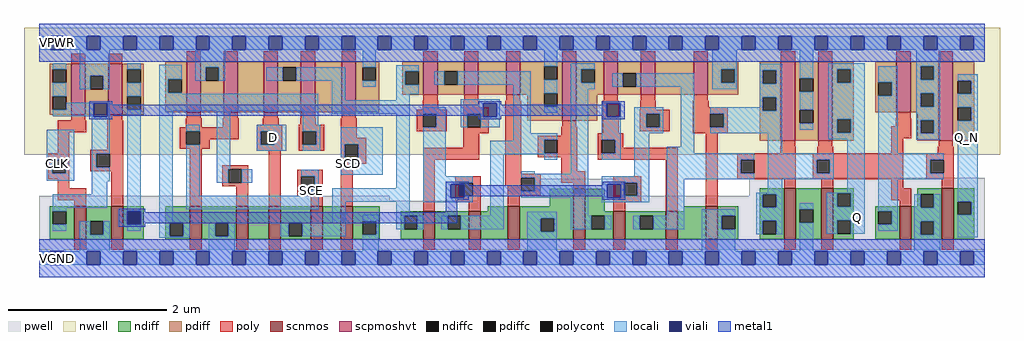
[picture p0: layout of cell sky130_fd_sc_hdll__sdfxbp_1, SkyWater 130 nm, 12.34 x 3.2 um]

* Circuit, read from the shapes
.subckt sky130_fd_sc_hdll__sdfxbp_1 CLK D SCD SCE VGND VNB VPB VPWR Q Q_N
XM1 VGND CLK n1 VNB sky130_fd_pr__nfet_01v8 w=0.42 l=0.15
XM2 n2 n1 VGND VNB sky130_fd_pr__nfet_01v8 w=0.42 l=0.15
XM3 VGND SCE n3 VNB sky130_fd_pr__nfet_01v8 w=0.42 l=0.15
XM4 n4 n3 VGND VNB sky130_fd_pr__nfet_01v8 w=0.42 l=0.15
XM5 n5 D n4 VNB sky130_fd_pr__nfet_01v8 w=0.42 l=0.15
XM6 n6 SCE n5 VNB sky130_fd_pr__nfet_01v8 w=0.42 l=0.15
XM7 VGND SCD n6 VNB sky130_fd_pr__nfet_01v8 w=0.42 l=0.15
XM8 n7 n1 n5 VNB sky130_fd_pr__nfet_01v8 w=0.36 l=0.15
XM9 n8 n2 n7 VNB sky130_fd_pr__nfet_01v8 w=0.36 l=0.15
XM10 VGND n9 n8 VNB sky130_fd_pr__nfet_01v8 w=0.42 l=0.15
XM11 n9 n7 VGND VNB sky130_fd_pr__nfet_01v8 w=0.64 l=0.15
XM12 n10 n2 n9 VNB sky130_fd_pr__nfet_01v8 w=0.36 l=0.15
XM13 n11 n1 n10 VNB sky130_fd_pr__nfet_01v8 w=0.36 l=0.15
XM14 VGND n12 n11 VNB sky130_fd_pr__nfet_01v8 w=0.42 l=0.15
XM15 VGND n10 n12 VNB sky130_fd_pr__nfet_01v8 w=0.65 l=0.15
XM16 Q n12 VGND VNB sky130_fd_pr__nfet_01v8 w=0.65 l=0.15
XM17 VGND n12 n13 VNB sky130_fd_pr__nfet_01v8 w=0.42 l=0.15
XM18 Q_N n13 VGND VNB sky130_fd_pr__nfet_01v8 w=0.65 l=0.15
XM19 VPWR CLK n1 VPB sky130_fd_pr__pfet_01v8_hvt w=0.64 l=0.18
XM20 n2 n1 VPWR VPB sky130_fd_pr__pfet_01v8_hvt w=0.64 l=0.18
XM21 VPWR SCE n3 VPB sky130_fd_pr__pfet_01v8_hvt w=0.64 l=0.18
XM22 n14 SCE VPWR VPB sky130_fd_pr__pfet_01v8_hvt w=0.64 l=0.18
XM23 n5 D n14 VPB sky130_fd_pr__pfet_01v8_hvt w=0.64 l=0.18
XM24 n15 n3 n5 VPB sky130_fd_pr__pfet_01v8_hvt w=0.64 l=0.18
XM25 VPWR SCD n15 VPB sky130_fd_pr__pfet_01v8_hvt w=0.64 l=0.18
XM26 n7 n2 n5 VPB sky130_fd_pr__pfet_01v8_hvt w=0.42 l=0.18
XM27 n16 n1 n7 VPB sky130_fd_pr__pfet_01v8_hvt w=0.42 l=0.18
XM28 VPWR n9 n16 VPB sky130_fd_pr__pfet_01v8_hvt w=0.42 l=0.18
XM29 n9 n7 VPWR VPB sky130_fd_pr__pfet_01v8_hvt w=0.75 l=0.18
XM30 n10 n1 n9 VPB sky130_fd_pr__pfet_01v8_hvt w=0.42 l=0.18
XM31 n17 n2 n10 VPB sky130_fd_pr__pfet_01v8_hvt w=0.42 l=0.18
XM32 VPWR n12 n17 VPB sky130_fd_pr__pfet_01v8_hvt w=0.42 l=0.18
XM33 VPWR n10 n12 VPB sky130_fd_pr__pfet_01v8_hvt w=1 l=0.18
XM34 Q n12 VPWR VPB sky130_fd_pr__pfet_01v8_hvt w=1 l=0.18
XM35 VPWR n12 n13 VPB sky130_fd_pr__pfet_01v8_hvt w=0.64 l=0.18
XM36 Q_N n13 VPWR VPB sky130_fd_pr__pfet_01v8_hvt w=1 l=0.18
.ends

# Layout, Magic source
magic
tech sky130A
magscale 1 2
<< nwell >>
rect -38 261 2430 582
<< pwell >>
rect 1265 157 1457 201
rect 1796 157 2391 203
rect 1 145 887 157
rect 1109 145 2391 157
rect 1 21 2391 145
rect 29 -17 63 21
<< scnmos >>
rect 89 47 119 131
rect 183 47 213 131
rect 381 47 411 131
rect 499 47 529 131
rect 581 47 611 131
rect 687 47 717 131
rect 763 47 793 131
rect 971 47 1001 119
rect 1087 47 1117 119
rect 1185 47 1215 131
rect 1351 47 1381 175
rect 1452 47 1482 119
rect 1585 47 1615 119
rect 1686 47 1716 131
rect 1884 47 1914 177
rect 1978 47 2008 177
rect 2176 47 2206 131
rect 2283 47 2313 177
<< scpmoshvt >>
rect 81 363 117 491
rect 175 363 211 491
rect 373 369 409 497
rect 467 369 503 497
rect 568 369 604 497
rect 662 369 698 497
rect 765 369 801 497
rect 972 413 1008 497
rect 1075 413 1111 497
rect 1181 413 1217 497
rect 1323 347 1359 497
rect 1428 413 1464 497
rect 1522 413 1558 497
rect 1655 413 1691 497
rect 1876 297 1912 497
rect 1970 297 2006 497
rect 2168 369 2204 497
rect 2275 297 2311 497
<< ndiff >>
rect 27 119 89 131
rect 27 85 35 119
rect 69 85 89 119
rect 27 47 89 85
rect 119 93 183 131
rect 119 59 129 93
rect 163 59 183 93
rect 119 47 183 59
rect 213 119 265 131
rect 213 85 223 119
rect 257 85 265 119
rect 213 47 265 85
rect 319 89 381 131
rect 319 55 331 89
rect 365 55 381 89
rect 319 47 381 55
rect 411 89 499 131
rect 411 55 445 89
rect 479 55 499 89
rect 411 47 499 55
rect 529 47 581 131
rect 611 89 687 131
rect 611 55 632 89
rect 666 55 687 89
rect 611 47 687 55
rect 717 47 763 131
rect 793 93 861 131
rect 1291 131 1351 175
rect 1135 119 1185 131
rect 793 59 819 93
rect 853 59 861 93
rect 793 47 861 59
rect 915 107 971 119
rect 915 73 923 107
rect 957 73 971 107
rect 915 47 971 73
rect 1001 107 1087 119
rect 1001 73 1033 107
rect 1067 73 1087 107
rect 1001 47 1087 73
rect 1117 47 1185 119
rect 1215 101 1351 131
rect 1215 67 1269 101
rect 1303 67 1351 101
rect 1215 47 1351 67
rect 1381 119 1431 175
rect 1822 162 1884 177
rect 1630 119 1686 131
rect 1381 107 1452 119
rect 1381 73 1397 107
rect 1431 73 1452 107
rect 1381 47 1452 73
rect 1482 107 1585 119
rect 1482 73 1519 107
rect 1553 73 1585 107
rect 1482 47 1585 73
rect 1615 47 1686 119
rect 1716 107 1768 131
rect 1716 73 1726 107
rect 1760 73 1768 107
rect 1716 47 1768 73
rect 1822 128 1830 162
rect 1864 128 1884 162
rect 1822 94 1884 128
rect 1822 60 1830 94
rect 1864 60 1884 94
rect 1822 47 1884 60
rect 1914 123 1978 177
rect 1914 89 1924 123
rect 1958 89 1978 123
rect 1914 47 1978 89
rect 2008 164 2060 177
rect 2008 130 2018 164
rect 2052 130 2060 164
rect 2221 161 2283 177
rect 2221 131 2229 161
rect 2008 96 2060 130
rect 2008 62 2018 96
rect 2052 62 2060 96
rect 2008 47 2060 62
rect 2114 119 2176 131
rect 2114 85 2122 119
rect 2156 85 2176 119
rect 2114 47 2176 85
rect 2206 127 2229 131
rect 2263 127 2283 161
rect 2206 93 2283 127
rect 2206 59 2229 93
rect 2263 59 2283 93
rect 2206 47 2283 59
rect 2313 143 2365 177
rect 2313 109 2323 143
rect 2357 109 2365 143
rect 2313 47 2365 109
<< pdiff >>
rect 27 477 81 491
rect 27 443 35 477
rect 69 443 81 477
rect 27 409 81 443
rect 27 375 35 409
rect 69 375 81 409
rect 27 363 81 375
rect 117 461 175 491
rect 117 427 129 461
rect 163 427 175 461
rect 117 363 175 427
rect 211 477 265 491
rect 211 443 223 477
rect 257 443 265 477
rect 211 409 265 443
rect 211 375 223 409
rect 257 375 265 409
rect 211 363 265 375
rect 319 452 373 497
rect 319 418 327 452
rect 361 418 373 452
rect 319 369 373 418
rect 409 483 467 497
rect 409 449 421 483
rect 455 449 467 483
rect 409 369 467 449
rect 503 369 568 497
rect 604 483 662 497
rect 604 449 616 483
rect 650 449 662 483
rect 604 369 662 449
rect 698 369 765 497
rect 801 483 860 497
rect 801 449 818 483
rect 852 449 860 483
rect 801 369 860 449
rect 918 472 972 497
rect 918 438 926 472
rect 960 438 972 472
rect 918 413 972 438
rect 1008 472 1075 497
rect 1008 438 1025 472
rect 1059 438 1075 472
rect 1008 413 1075 438
rect 1111 413 1181 497
rect 1217 485 1323 497
rect 1217 451 1277 485
rect 1311 451 1323 485
rect 1217 417 1323 451
rect 1217 413 1277 417
rect 1234 383 1277 413
rect 1311 383 1323 417
rect 1234 347 1323 383
rect 1359 477 1428 497
rect 1359 443 1371 477
rect 1405 443 1428 477
rect 1359 413 1428 443
rect 1464 467 1522 497
rect 1464 433 1476 467
rect 1510 433 1522 467
rect 1464 413 1522 433
rect 1558 413 1655 497
rect 1691 477 1768 497
rect 1691 443 1725 477
rect 1759 443 1768 477
rect 1691 413 1768 443
rect 1822 475 1876 497
rect 1822 441 1830 475
rect 1864 441 1876 475
rect 1359 347 1411 413
rect 1822 407 1876 441
rect 1822 373 1830 407
rect 1864 373 1876 407
rect 1822 297 1876 373
rect 1912 455 1970 497
rect 1912 421 1924 455
rect 1958 421 1970 455
rect 1912 375 1970 421
rect 1912 341 1924 375
rect 1958 341 1970 375
rect 1912 297 1970 341
rect 2006 477 2060 497
rect 2006 443 2018 477
rect 2052 443 2060 477
rect 2006 351 2060 443
rect 2114 445 2168 497
rect 2114 411 2122 445
rect 2156 411 2168 445
rect 2114 369 2168 411
rect 2204 485 2275 497
rect 2204 451 2229 485
rect 2263 451 2275 485
rect 2204 417 2275 451
rect 2204 383 2229 417
rect 2263 383 2275 417
rect 2204 369 2275 383
rect 2006 317 2018 351
rect 2052 317 2060 351
rect 2006 297 2060 317
rect 2221 349 2275 369
rect 2221 315 2229 349
rect 2263 315 2275 349
rect 2221 297 2275 315
rect 2311 449 2365 497
rect 2311 415 2323 449
rect 2357 415 2365 449
rect 2311 381 2365 415
rect 2311 347 2323 381
rect 2357 347 2365 381
rect 2311 297 2365 347
<< ndiffc >>
rect 35 85 69 119
rect 129 59 163 93
rect 223 85 257 119
rect 331 55 365 89
rect 445 55 479 89
rect 632 55 666 89
rect 819 59 853 93
rect 923 73 957 107
rect 1033 73 1067 107
rect 1269 67 1303 101
rect 1397 73 1431 107
rect 1519 73 1553 107
rect 1726 73 1760 107
rect 1830 128 1864 162
rect 1830 60 1864 94
rect 1924 89 1958 123
rect 2018 130 2052 164
rect 2018 62 2052 96
rect 2122 85 2156 119
rect 2229 127 2263 161
rect 2229 59 2263 93
rect 2323 109 2357 143
<< pdiffc >>
rect 35 443 69 477
rect 35 375 69 409
rect 129 427 163 461
rect 223 443 257 477
rect 223 375 257 409
rect 327 418 361 452
rect 421 449 455 483
rect 616 449 650 483
rect 818 449 852 483
rect 926 438 960 472
rect 1025 438 1059 472
rect 1277 451 1311 485
rect 1277 383 1311 417
rect 1371 443 1405 477
rect 1476 433 1510 467
rect 1725 443 1759 477
rect 1830 441 1864 475
rect 1830 373 1864 407
rect 1924 421 1958 455
rect 1924 341 1958 375
rect 2018 443 2052 477
rect 2122 411 2156 445
rect 2229 451 2263 485
rect 2229 383 2263 417
rect 2018 317 2052 351
rect 2229 315 2263 349
rect 2323 415 2357 449
rect 2323 347 2357 381
<< poly >>
rect 81 491 117 517
rect 175 491 211 517
rect 373 497 409 523
rect 467 497 503 523
rect 568 497 604 523
rect 662 497 698 523
rect 765 497 801 523
rect 972 497 1008 523
rect 1075 497 1111 523
rect 1181 497 1217 523
rect 1323 497 1359 523
rect 1428 497 1464 523
rect 1522 497 1558 523
rect 1655 497 1691 523
rect 1876 497 1912 523
rect 1970 497 2006 523
rect 2168 497 2204 523
rect 2275 497 2311 523
rect 972 398 1008 413
rect 1075 398 1111 413
rect 1181 398 1217 413
rect 970 375 1010 398
rect 1073 381 1113 398
rect 81 348 117 363
rect 175 348 211 363
rect 373 354 409 369
rect 467 354 503 369
rect 568 354 604 369
rect 662 354 698 369
rect 765 354 801 369
rect 955 365 1031 375
rect 47 318 119 348
rect 47 265 77 318
rect 173 274 213 348
rect 371 331 411 354
rect 465 331 505 354
rect 566 337 606 354
rect 660 337 700 354
rect 356 321 505 331
rect 356 287 372 321
rect 406 301 505 321
rect 551 321 615 337
rect 406 287 432 301
rect 356 277 432 287
rect 551 287 561 321
rect 595 287 615 321
rect 23 249 77 265
rect 23 215 33 249
rect 67 215 77 249
rect 129 264 213 274
rect 129 230 145 264
rect 179 230 213 264
rect 129 220 213 230
rect 23 199 77 215
rect 47 176 77 199
rect 47 146 119 176
rect 89 131 119 146
rect 183 131 213 220
rect 381 131 411 277
rect 551 271 615 287
rect 657 321 721 337
rect 657 287 667 321
rect 701 287 721 321
rect 657 271 721 287
rect 763 304 803 354
rect 955 331 971 365
rect 1005 331 1031 365
rect 955 321 1031 331
rect 1073 365 1137 381
rect 1073 331 1083 365
rect 1117 331 1137 365
rect 1073 315 1137 331
rect 763 288 827 304
rect 463 225 529 235
rect 463 191 479 225
rect 513 191 529 225
rect 463 181 529 191
rect 499 131 529 181
rect 581 131 611 271
rect 763 254 773 288
rect 807 254 827 288
rect 1073 279 1113 315
rect 763 238 827 254
rect 971 249 1113 279
rect 653 207 717 223
rect 653 173 663 207
rect 697 173 717 207
rect 653 157 717 173
rect 687 131 717 157
rect 763 131 793 238
rect 971 119 1001 249
rect 1179 213 1219 398
rect 1428 398 1464 413
rect 1522 398 1558 413
rect 1655 398 1691 413
rect 1323 332 1359 347
rect 1321 309 1361 332
rect 1426 315 1466 398
rect 1520 375 1560 398
rect 1653 381 1693 398
rect 1519 365 1595 375
rect 1519 331 1535 365
rect 1569 331 1595 365
rect 1519 321 1595 331
rect 1653 365 1741 381
rect 1653 331 1697 365
rect 1731 331 1741 365
rect 1653 315 1741 331
rect 1261 299 1361 309
rect 1261 265 1277 299
rect 1311 265 1361 299
rect 1261 255 1361 265
rect 1321 220 1361 255
rect 1413 299 1477 315
rect 1413 265 1423 299
rect 1457 279 1477 299
rect 1457 265 1615 279
rect 1413 249 1615 265
rect 1053 191 1117 207
rect 1053 157 1063 191
rect 1097 157 1117 191
rect 1179 203 1269 213
rect 1179 183 1219 203
rect 1053 141 1117 157
rect 1087 119 1117 141
rect 1185 169 1219 183
rect 1253 169 1269 203
rect 1321 190 1381 220
rect 1351 175 1381 190
rect 1452 191 1523 207
rect 1185 159 1269 169
rect 1185 131 1215 159
rect 1452 157 1479 191
rect 1513 157 1523 191
rect 1452 141 1523 157
rect 1452 119 1482 141
rect 1585 119 1615 249
rect 1686 131 1716 315
rect 2168 354 2204 369
rect 2166 333 2206 354
rect 2155 303 2206 333
rect 1876 282 1912 297
rect 1970 282 2006 297
rect 1874 265 1914 282
rect 1968 265 2008 282
rect 2155 265 2185 303
rect 2275 282 2311 297
rect 2273 265 2313 282
rect 1765 249 1914 265
rect 1765 215 1775 249
rect 1809 215 1914 249
rect 1765 199 1914 215
rect 1956 249 2185 265
rect 1956 215 1966 249
rect 2000 215 2185 249
rect 1956 199 2185 215
rect 2244 249 2313 265
rect 2244 215 2254 249
rect 2288 215 2313 249
rect 2244 199 2313 215
rect 1884 177 1914 199
rect 1978 177 2008 199
rect 2155 176 2185 199
rect 2283 177 2313 199
rect 2155 146 2206 176
rect 2176 131 2206 146
rect 89 21 119 47
rect 183 21 213 47
rect 381 21 411 47
rect 499 21 529 47
rect 581 21 611 47
rect 687 21 717 47
rect 763 21 793 47
rect 971 21 1001 47
rect 1087 21 1117 47
rect 1185 21 1215 47
rect 1351 21 1381 47
rect 1452 21 1482 47
rect 1585 21 1615 47
rect 1686 21 1716 47
rect 1884 21 1914 47
rect 1978 21 2008 47
rect 2176 21 2206 47
rect 2283 21 2313 47
<< polycont >>
rect 372 287 406 321
rect 561 287 595 321
rect 33 215 67 249
rect 145 230 179 264
rect 667 287 701 321
rect 971 331 1005 365
rect 1083 331 1117 365
rect 479 191 513 225
rect 773 254 807 288
rect 663 173 697 207
rect 1535 331 1569 365
rect 1697 331 1731 365
rect 1277 265 1311 299
rect 1423 265 1457 299
rect 1063 157 1097 191
rect 1219 169 1253 203
rect 1479 157 1513 191
rect 1775 215 1809 249
rect 1966 215 2000 249
rect 2254 215 2288 249
<< locali >>
rect 0 527 29 561
rect 63 527 121 561
rect 155 527 213 561
rect 247 527 305 561
rect 339 527 397 561
rect 431 527 489 561
rect 523 527 581 561
rect 615 527 673 561
rect 707 527 765 561
rect 799 527 857 561
rect 891 527 949 561
rect 983 527 1041 561
rect 1075 527 1133 561
rect 1167 527 1225 561
rect 1259 527 1317 561
rect 1351 527 1409 561
rect 1443 527 1501 561
rect 1535 527 1593 561
rect 1627 527 1685 561
rect 1719 527 1777 561
rect 1811 527 1869 561
rect 1903 527 1961 561
rect 1995 527 2053 561
rect 2087 527 2145 561
rect 2179 527 2237 561
rect 2271 527 2329 561
rect 2363 527 2392 561
rect 35 477 69 493
rect 35 409 69 443
rect 103 461 179 527
rect 103 427 129 461
rect 163 427 179 461
rect 223 477 257 493
rect 223 409 257 443
rect 69 391 179 393
rect 69 375 139 391
rect 35 359 139 375
rect 133 357 139 359
rect 173 357 179 391
rect 19 249 89 325
rect 19 215 33 249
rect 67 215 89 249
rect 19 195 89 215
rect 133 264 179 357
rect 133 230 145 264
rect 133 194 179 230
rect 133 161 172 194
rect 35 127 172 161
rect 35 119 69 127
rect 223 119 257 375
rect 35 69 69 85
rect 103 59 129 93
rect 163 59 179 93
rect 223 69 257 85
rect 304 452 361 489
rect 304 418 327 452
rect 395 483 471 527
rect 818 483 852 527
rect 395 449 421 483
rect 455 449 471 483
rect 575 449 616 483
rect 650 449 774 483
rect 304 415 361 418
rect 304 372 706 415
rect 304 89 338 372
rect 372 321 406 337
rect 372 157 406 287
rect 450 225 484 372
rect 667 337 706 372
rect 740 399 774 449
rect 818 433 852 449
rect 903 472 960 488
rect 1277 485 1311 527
rect 903 438 926 472
rect 999 438 1025 472
rect 1059 438 1243 472
rect 903 414 960 438
rect 903 399 937 414
rect 740 365 937 399
rect 1067 391 1165 402
rect 551 321 625 337
rect 551 287 561 321
rect 595 287 625 321
rect 551 271 625 287
rect 667 321 711 337
rect 701 287 711 321
rect 667 271 711 287
rect 763 288 869 331
rect 763 254 773 288
rect 807 254 869 288
rect 450 191 479 225
rect 513 191 539 225
rect 663 207 707 223
rect 763 211 869 254
rect 697 173 707 207
rect 903 177 937 365
rect 663 157 707 173
rect 372 123 707 157
rect 741 143 937 177
rect 741 89 775 143
rect 103 17 179 59
rect 304 55 331 89
rect 365 55 381 89
rect 304 51 381 55
rect 429 55 445 89
rect 479 55 495 89
rect 610 55 632 89
rect 666 55 775 89
rect 819 93 859 109
rect 853 59 859 93
rect 903 107 937 143
rect 971 365 1029 381
rect 1005 331 1029 365
rect 1067 365 1123 391
rect 1067 331 1083 365
rect 1117 357 1123 365
rect 1157 357 1165 391
rect 1117 331 1165 357
rect 971 207 1029 331
rect 1199 315 1243 438
rect 1277 417 1311 451
rect 1277 367 1311 383
rect 1345 477 1405 493
rect 1345 443 1371 477
rect 1703 477 1764 527
rect 1345 427 1405 443
rect 1450 433 1476 467
rect 1510 433 1657 467
rect 1199 299 1311 315
rect 1199 297 1277 299
rect 1141 265 1277 297
rect 1141 263 1311 265
rect 971 191 1097 207
rect 971 187 1063 191
rect 971 153 1041 187
rect 1075 153 1097 157
rect 971 141 1097 153
rect 1141 107 1175 263
rect 1277 249 1311 263
rect 1219 213 1253 219
rect 1345 213 1389 427
rect 1423 391 1471 393
rect 1423 357 1435 391
rect 1469 357 1471 391
rect 1423 299 1471 357
rect 1457 265 1471 299
rect 1423 249 1471 265
rect 1505 365 1579 381
rect 1505 331 1535 365
rect 1569 331 1579 365
rect 1505 315 1579 331
rect 1219 203 1389 213
rect 1505 207 1543 315
rect 1623 281 1657 433
rect 1703 443 1725 477
rect 1759 443 1764 477
rect 1703 427 1764 443
rect 1822 475 1880 491
rect 1822 441 1830 475
rect 1864 441 1880 475
rect 1822 407 1880 441
rect 1822 381 1830 407
rect 1697 373 1830 381
rect 1864 373 1880 407
rect 1697 365 1880 373
rect 1731 331 1880 365
rect 1697 315 1880 331
rect 1924 455 1958 527
rect 1924 375 1958 421
rect 1924 325 1958 341
rect 1996 477 2088 493
rect 2218 485 2279 527
rect 1996 443 2018 477
rect 2052 443 2088 477
rect 1996 351 2088 443
rect 1253 169 1389 203
rect 1219 153 1389 169
rect 903 73 923 107
rect 957 73 973 107
rect 1017 73 1033 107
rect 1067 73 1175 107
rect 1235 101 1309 117
rect 429 17 495 55
rect 819 17 859 59
rect 1235 67 1269 101
rect 1303 67 1309 101
rect 1345 107 1389 153
rect 1423 191 1543 207
rect 1423 187 1479 191
rect 1423 153 1437 187
rect 1471 157 1479 187
rect 1513 157 1543 191
rect 1471 153 1543 157
rect 1423 141 1543 153
rect 1587 265 1657 281
rect 1843 265 1880 315
rect 1996 317 2018 351
rect 2052 317 2088 351
rect 1996 301 2088 317
rect 1587 249 1809 265
rect 1587 215 1775 249
rect 1587 199 1809 215
rect 1843 249 2010 265
rect 1843 215 1966 249
rect 2000 215 2010 249
rect 1843 199 2010 215
rect 1587 107 1631 199
rect 1843 165 1880 199
rect 2044 165 2088 301
rect 1814 162 1880 165
rect 1814 128 1830 162
rect 1864 128 1880 162
rect 1992 164 2088 165
rect 1345 73 1397 107
rect 1431 73 1447 107
rect 1503 73 1519 107
rect 1553 73 1631 107
rect 1676 107 1760 123
rect 1676 73 1726 107
rect 1235 17 1309 67
rect 1676 17 1760 73
rect 1814 94 1880 128
rect 1814 60 1830 94
rect 1864 60 1880 94
rect 1924 123 1958 139
rect 1924 17 1958 89
rect 1992 130 2018 164
rect 2052 130 2088 164
rect 1992 96 2088 130
rect 1992 62 2018 96
rect 2052 62 2088 96
rect 2122 445 2172 485
rect 2156 411 2172 445
rect 2122 265 2172 411
rect 2218 451 2229 485
rect 2263 451 2279 485
rect 2218 417 2279 451
rect 2218 383 2229 417
rect 2263 383 2279 417
rect 2218 349 2279 383
rect 2218 315 2229 349
rect 2263 315 2279 349
rect 2218 299 2279 315
rect 2323 449 2374 465
rect 2357 415 2374 449
rect 2323 381 2374 415
rect 2357 347 2374 381
rect 2122 249 2288 265
rect 2122 215 2254 249
rect 2122 199 2288 215
rect 2122 119 2172 199
rect 2156 85 2172 119
rect 2122 69 2172 85
rect 2213 127 2229 161
rect 2263 127 2279 161
rect 2213 93 2279 127
rect 1992 61 2088 62
rect 2213 59 2229 93
rect 2263 59 2279 93
rect 2213 17 2279 59
rect 2323 143 2374 347
rect 2357 109 2374 143
rect 2323 53 2374 109
rect 0 -17 29 17
rect 63 -17 121 17
rect 155 -17 213 17
rect 247 -17 305 17
rect 339 -17 397 17
rect 431 -17 489 17
rect 523 -17 581 17
rect 615 -17 673 17
rect 707 -17 765 17
rect 799 -17 857 17
rect 891 -17 949 17
rect 983 -17 1041 17
rect 1075 -17 1133 17
rect 1167 -17 1225 17
rect 1259 -17 1317 17
rect 1351 -17 1409 17
rect 1443 -17 1501 17
rect 1535 -17 1593 17
rect 1627 -17 1685 17
rect 1719 -17 1777 17
rect 1811 -17 1869 17
rect 1903 -17 1961 17
rect 1995 -17 2053 17
rect 2087 -17 2145 17
rect 2179 -17 2237 17
rect 2271 -17 2329 17
rect 2363 -17 2392 17
<< viali >>
rect 29 527 63 561
rect 121 527 155 561
rect 213 527 247 561
rect 305 527 339 561
rect 397 527 431 561
rect 489 527 523 561
rect 581 527 615 561
rect 673 527 707 561
rect 765 527 799 561
rect 857 527 891 561
rect 949 527 983 561
rect 1041 527 1075 561
rect 1133 527 1167 561
rect 1225 527 1259 561
rect 1317 527 1351 561
rect 1409 527 1443 561
rect 1501 527 1535 561
rect 1593 527 1627 561
rect 1685 527 1719 561
rect 1777 527 1811 561
rect 1869 527 1903 561
rect 1961 527 1995 561
rect 2053 527 2087 561
rect 2145 527 2179 561
rect 2237 527 2271 561
rect 2329 527 2363 561
rect 139 357 173 391
rect 223 85 257 119
rect 1123 357 1157 391
rect 1041 157 1063 187
rect 1063 157 1075 187
rect 1041 153 1075 157
rect 1435 357 1469 391
rect 1437 153 1471 187
rect 29 -17 63 17
rect 121 -17 155 17
rect 213 -17 247 17
rect 305 -17 339 17
rect 397 -17 431 17
rect 489 -17 523 17
rect 581 -17 615 17
rect 673 -17 707 17
rect 765 -17 799 17
rect 857 -17 891 17
rect 949 -17 983 17
rect 1041 -17 1075 17
rect 1133 -17 1167 17
rect 1225 -17 1259 17
rect 1317 -17 1351 17
rect 1409 -17 1443 17
rect 1501 -17 1535 17
rect 1593 -17 1627 17
rect 1685 -17 1719 17
rect 1777 -17 1811 17
rect 1869 -17 1903 17
rect 1961 -17 1995 17
rect 2053 -17 2087 17
rect 2145 -17 2179 17
rect 2237 -17 2271 17
rect 2329 -17 2363 17
<< metal1 >>
rect 0 561 2392 592
rect 0 527 29 561
rect 63 527 121 561
rect 155 527 213 561
rect 247 527 305 561
rect 339 527 397 561
rect 431 527 489 561
rect 523 527 581 561
rect 615 527 673 561
rect 707 527 765 561
rect 799 527 857 561
rect 891 527 949 561
rect 983 527 1041 561
rect 1075 527 1133 561
rect 1167 527 1225 561
rect 1259 527 1317 561
rect 1351 527 1409 561
rect 1443 527 1501 561
rect 1535 527 1593 561
rect 1627 527 1685 561
rect 1719 527 1777 561
rect 1811 527 1869 561
rect 1903 527 1961 561
rect 1995 527 2053 561
rect 2087 527 2145 561
rect 2179 527 2237 561
rect 2271 527 2329 561
rect 2363 527 2392 561
rect 0 496 2392 527
rect 127 391 185 397
rect 127 357 139 391
rect 173 388 185 391
rect 1111 391 1169 397
rect 1111 388 1123 391
rect 173 360 1123 388
rect 173 357 185 360
rect 127 351 185 357
rect 1111 357 1123 360
rect 1157 388 1169 391
rect 1423 391 1481 397
rect 1423 388 1435 391
rect 1157 360 1435 388
rect 1157 357 1169 360
rect 1111 351 1169 357
rect 1423 357 1435 360
rect 1469 357 1481 391
rect 1423 351 1481 357
rect 1029 187 1087 193
rect 1029 153 1041 187
rect 1075 184 1087 187
rect 1425 187 1483 193
rect 1425 184 1437 187
rect 1075 156 1437 184
rect 1075 153 1087 156
rect 1029 147 1087 153
rect 1425 153 1437 156
rect 1471 153 1483 187
rect 1425 147 1483 153
rect 201 119 269 125
rect 201 85 223 119
rect 257 116 269 119
rect 1029 116 1057 147
rect 257 88 1057 116
rect 257 85 269 88
rect 201 79 269 85
rect 0 17 2392 48
rect 0 -17 29 17
rect 63 -17 121 17
rect 155 -17 213 17
rect 247 -17 305 17
rect 339 -17 397 17
rect 431 -17 489 17
rect 523 -17 581 17
rect 615 -17 673 17
rect 707 -17 765 17
rect 799 -17 857 17
rect 891 -17 949 17
rect 983 -17 1041 17
rect 1075 -17 1133 17
rect 1167 -17 1225 17
rect 1259 -17 1317 17
rect 1351 -17 1409 17
rect 1443 -17 1501 17
rect 1535 -17 1593 17
rect 1627 -17 1685 17
rect 1719 -17 1777 17
rect 1811 -17 1869 17
rect 1903 -17 1961 17
rect 1995 -17 2053 17
rect 2087 -17 2145 17
rect 2179 -17 2237 17
rect 2271 -17 2329 17
rect 2363 -17 2392 17
rect 0 -48 2392 -17
<< labels >>
flabel metal1 s 29 -17 63 17 0 FreeSans 200 0 0 0 VGND
port 5 nsew ground bidirectional
flabel metal1 s 29 527 63 561 0 FreeSans 200 0 0 0 VPWR
port 8 nsew power bidirectional
flabel locali s 765 221 799 255 0 FreeSans 300 0 0 0 SCD
port 3 nsew signal input
flabel locali s 2329 289 2363 323 0 FreeSans 400 0 0 0 Q_N
port 10 nsew signal output
flabel locali s 577 289 611 323 0 FreeSans 300 0 0 0 D
port 2 nsew signal input
flabel locali s 673 153 707 187 0 FreeSans 300 0 0 0 SCE
port 4 nsew signal input
flabel locali s 29 221 63 255 0 FreeSans 400 0 0 0 CLK
port 1 nsew signal input
flabel locali s 2053 85 2087 119 0 FreeSans 400 0 0 0 Q
port 9 nsew signal output
flabel pwell s 29 -17 63 17 0 FreeSans 200 0 0 0 VNB
port 6 nsew ground bidirectional
flabel pwell s 46 0 46 0 0 FreeSans 200 0 0 0 VNB
port 6 nsew
flabel nwell s 29 527 63 561 0 FreeSans 200 0 0 0 VPB
port 7 nsew power bidirectional
flabel nwell s 46 544 46 544 0 FreeSans 200 0 0 0 VPB
port 7 nsew
rlabel comment s 0 0 0 0 4 sdfxbp_1
<< properties >>
string LEFsite unithd
string LEFclass CORE
string FIXED_BBOX 0 0 2392 544
string GDS_FILE $PDKPATH/libs.ref/sky130_fd_sc_hdll/gds/sky130_fd_sc_hdll.gds
string LEFsymmetry X Y R90
string GDS_END 2816512
string GDS_START 2799174
string LEFproperties maskLayoutSubType "abstract" prCellType "standard" originalViewName "layout"
<< end >>
